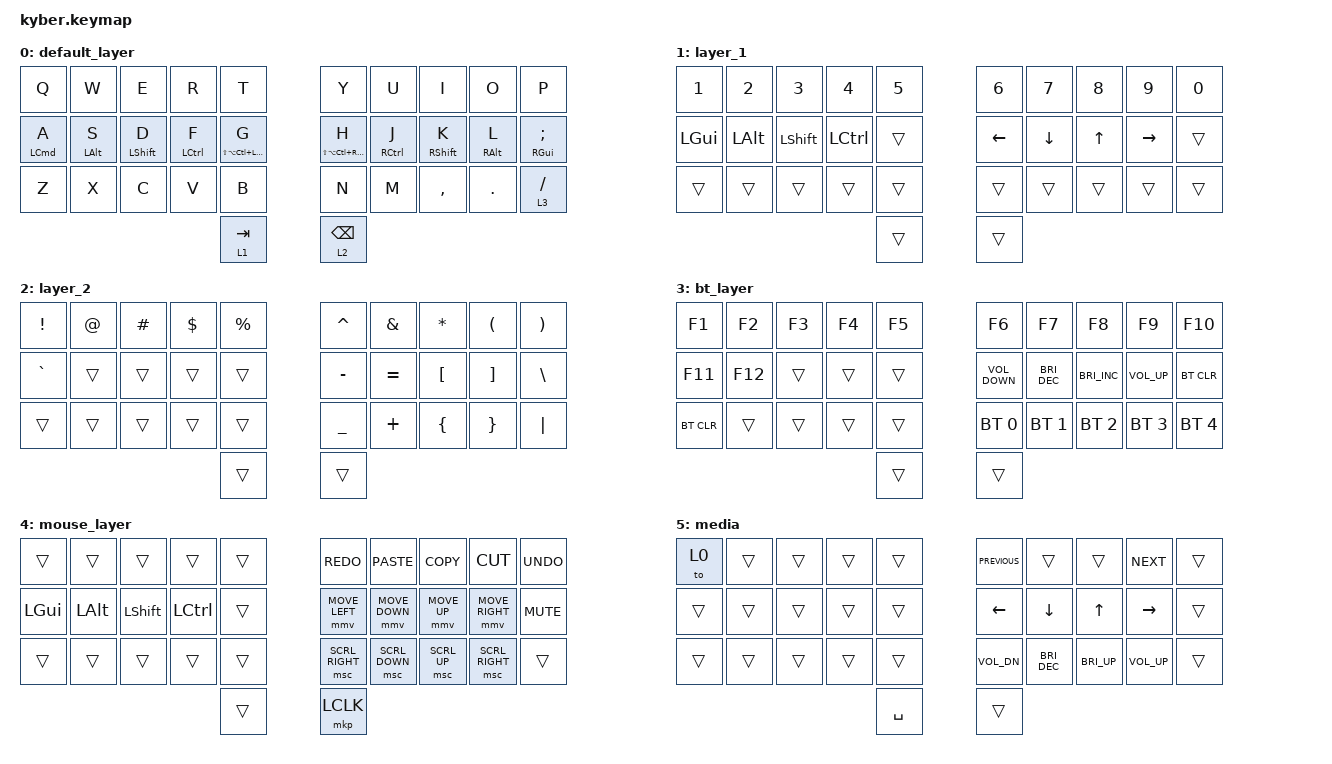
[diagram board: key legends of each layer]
/*
 * Copyright (c) 2020 The ZMK Contributors
 *
 * SPDX-License-Identifier: MIT
 */

#define ZMK_POINTING_DEFAULT_MOVE_VAL 1500  // default: 600
#define ZMK_POINTING_DEFAULT_SCRL_VAL 20

#include <behaviors.dtsi>
#include <dt-bindings/zmk/bt.h>
#include <dt-bindings/zmk/keys.h>
#include <dt-bindings/zmk/pointing.h>
#include <dt-bindings/zmk/pointing.h>
#include <dt-bindings/zmk/pointing.h>

/ {
    behaviors {
        hml: hml {
            compatible = "zmk,behavior-hold-tap";
            label = "HML";
            bindings = <&kp>, <&kp>;

            #binding-cells = <2>;
            tapping-term-ms = <280>;
            quick-tap-ms = <175>;
            require-prior-idle-ms = <150>;
            flavor = "balanced";
            hold-trigger-on-release;
            hold-trigger-key-positions = <12 11 12 13 14 10 11 12 13 14>;
        };

        hmr: hmr {
            compatible = "zmk,behavior-hold-tap";
            label = "HMR";
            bindings = <&kp>, <&kp>;

            #binding-cells = <2>;
            tapping-term-ms = <280>;
            quick-tap-ms = <175>;
            require-prior-idle-ms = <150>;
            flavor = "balanced";
            hold-trigger-on-release;
            hold-trigger-key-positions = <15 16 17 18 19 16 17 18 19>;
        };
    };

    combos {
        compatible = "zmk,combos";

        jkesc {
            bindings = <&kp ESCAPE>;
            key-positions = <16 17>;
        };

        medialayer {
            bindings = <&to 5>;
            key-positions = <0 1 2>;
        };
    };

    keymap {
        compatible = "zmk,keymap";

        default_layer {
            // ------------------------------------------------------------------------------------------------------------
            // |  TAB  |  Q  |  W  |  E   |  R   |  T   |                   |  Y   |  U    |  I    |  O   |   P   |   -   |
            // |  CTRL |  A  |  S  |  D   |  F   |  G   |                   |  H   |  J    |  K    |  L   |   ;   |   '   |
            // | SHIFT |  Z  |  X  |  C   |  V   |  B   |                   |  N   |  M    |  ,    |  .   |   /   | SHIFT |
            //                   | GUI  | LOWER|  SPACE |                   | ENTER | RAISE|  ALT  |

            bindings = <
&kp Q                &kp W            &kp E              &kp R                &kp T                        &kp Y                         &kp U                 &kp I               &kp O             &kp P
&hml LEFT_COMMAND A  &hml LEFT_ALT S  &hml LEFT_SHIFT D  &hml LEFT_CONTROL F  &hml LS(LA(LC(LEFT_GUI))) G  &hmr LS(LA(LC(RIGHT_GUI))) H  &hmr RIGHT_CONTROL J  &hmr RIGHT_SHIFT K  &hmr RIGHT_ALT L  &hmr RIGHT_GUI SEMICOLON
&kp Z                &kp X            &kp C              &kp V                &kp B                        &kp N                         &kp M                 &kp COMMA           &kp DOT           &lt 3 SLASH
                                                                              &lt 1 TAB                    &lt 2 BACKSPACE        
            >;
        };

        layer_1 {
            bindings = <
&kp N1    &kp N2    &kp N3     &kp N4     &kp N5  &kp N6    &kp N7          &kp N8        &kp N9     &kp N0
&kp LGUI  &kp LALT  &kp LSHFT  &kp LCTRL  &trans  &kp LEFT  &kp DOWN_ARROW  &kp UP_ARROW  &kp RIGHT  &trans
&trans    &trans    &trans     &trans     &trans  &trans    &trans          &trans        &trans     &trans
                                          &trans  &trans                     
            >;
        };

        layer_2 {
            bindings = <
&kp EXCLAMATION  &kp AT_SIGN  &kp HASH  &kp DOLLAR  &kp PERCENT  &kp CARET       &kp AMPERSAND  &kp ASTERISK      &kp LEFT_PARENTHESIS  &kp RIGHT_PARENTHESIS
&kp GRAVE        &trans       &trans    &trans      &trans       &kp MINUS       &kp EQUAL      &kp LEFT_BRACKET  &kp RIGHT_BRACKET     &kp BACKSLASH
&trans           &trans       &trans    &trans      &trans       &kp UNDERSCORE  &kp PLUS       &kp LEFT_BRACE    &kp RIGHT_BRACE       &kp PIPE
                                          &trans  &trans                     
            >;
        };

        bt_layer {
            bindings = <
&kp F1      &kp F2   &kp F3  &kp F4  &kp F5  &kp F6             &kp F7         &kp F8                &kp F9           &kp F10
&kp F11     &kp F12  &trans  &trans  &trans  &kp C_VOLUME_DOWN  &kp C_BRI_DEC  &kp C_BRIGHTNESS_INC  &kp C_VOLUME_UP  &bt BT_CLR
&bt BT_CLR  &trans   &trans  &trans  &trans  &bt BT_SEL 0       &bt BT_SEL 1   &bt BT_SEL 2          &bt BT_SEL 3     &bt BT_SEL 4
                                          &trans  &trans                     
            >;
        };

        mouse_layer {
            bindings = <
&trans        &trans        &trans     &trans     &trans  &kp K_REDO       &kp K_PASTE     &kp K_COPY    &kp K_CUT        &kp K_UNDO
&kp LEFT_GUI  &kp LEFT_ALT  &kp LSHFT  &kp LCTRL  &trans  &mmv MOVE_LEFT   &mmv MOVE_DOWN  &mmv MOVE_UP  &mmv MOVE_RIGHT  &kp K_MUTE
&trans        &trans        &trans     &trans     &trans  &msc SCRL_RIGHT  &msc SCRL_DOWN  &msc SCRL_UP  &msc SCRL_RIGHT  &trans
                                      &trans  &mkp LCLK        
            >;
        };

        media {
            bindings = <
&to 0   &trans  &trans  &trans  &trans  &kp C_PREVIOUS  &trans         &trans        &kp C_NEXT       &trans
&trans  &trans  &trans  &trans  &trans  &kp LEFT        &kp DOWN       &kp UP        &kp RIGHT        &trans
&trans  &trans  &trans  &trans  &trans  &kp C_VOL_DN    &kp C_BRI_DEC  &kp C_BRI_UP  &kp C_VOLUME_UP  &trans
                      &kp SPACE       &trans         
            >;
        };
    };
};
